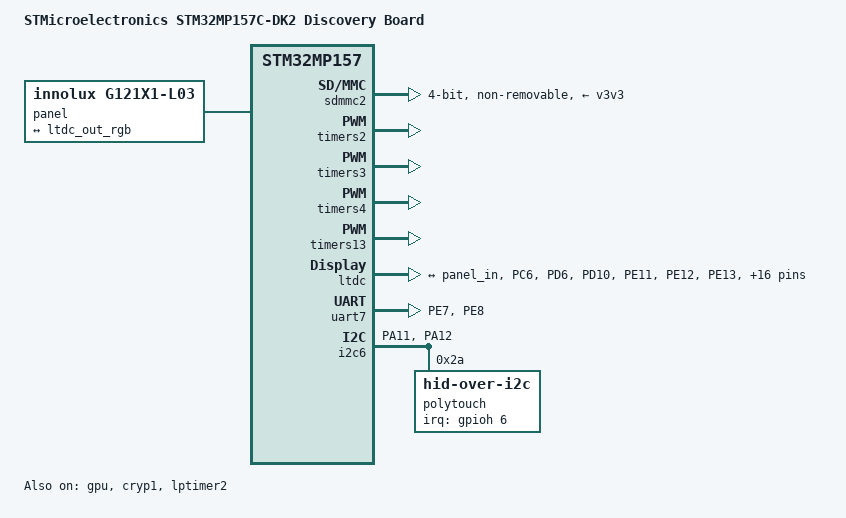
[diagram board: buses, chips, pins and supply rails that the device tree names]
// SPDX-License-Identifier: (GPL-2.0+ OR BSD-3-Clause)
/*
 * Copyright (C) STMicroelectronics 2019 - All Rights Reserved
 * Author: Alexandre Torgue <alexandre.torgue@st.com> for STMicroelectronics.
 */

/dts-v1/;

#include "stm32mp157.dtsi"
#include "stm32mp15xc.dtsi"
#include "stm32mp15-pinctrl-v510.dtsi"
#include "stm32mp15xxac-pinctrl.dtsi"
#include "stm32mp15xx-dkx-v510.dtsi"
#include <dt-bindings/rtc/rtc-stm32.h>

/ {
	model = "STMicroelectronics STM32MP157C-DK2 Discovery Board";
	compatible = "st,stm32mp157c-dk2", "st,stm32mp157";

	aliases {
		serial1 = &uart7;
	};

	chosen {
		stdout-path = "serial0:115200n8";
	};

	panel {
		compatible = "innolux,g121x1-l03", "simple-panel";
		//backlight = <&backlight>;
		port@0 {
			panel_in: endpoint {
				remote-endpoint = <&ltdc_out_rgb>;
			};
		};
	};
};

&pinctrl{

	tim2_pwm_pins_a: tim2_pwm-0 {
		pins {
			pinmux = <STM32_PINMUX('G', 8, AF1)>; /* TIM2_CH1 */
			bias-disable;
			drive-push-pull;
			slew-rate = <0>;
		};
	};

	tim2_pwm_sleep_pins_a: tim2_pwm_sleep-0 {
		pins {
			pinmux = <STM32_PINMUX('G', 8, ANALOG)>; /* TIM2_CH1 */
		};
	};


	tim3_pwm_pins_a: tim3_pwm-0 {
		pins {
			pinmux = <STM32_PINMUX('A', 6, AF2)>; /* TIM3_CH1 */
			bias-disable;
			drive-push-pull;
			slew-rate = <0>;
		};
	};

	tim3_pwm_sleep_pins_a: tim3_pwm_sleep-0 {
		pins {
			pinmux = <STM32_PINMUX('A', 6, ANALOG)>; /* TIM3_CH1 */
		};
	};


	tim4_pwm_pins_a: tim4_pwm-0 {
		pins {
			pinmux = <STM32_PINMUX('B', 8, AF2)>; /* TIM4_CH3 */
			bias-disable;
			drive-push-pull;
			slew-rate = <0>;
		};
	};

	tim4_pwm_sleep_pins_a: tim4_pwm_sleep-0 {
		pins {
			pinmux = <STM32_PINMUX('B', 8, ANALOG)>; /* TIM4_CH3 */
		};
	};


	tim13_pwm_pins_a: tim13_pwm-0 {
		pins {
			pinmux = <STM32_PINMUX('F', 8, AF9)>; /* TIM13_CH1 */
			bias-disable;
			drive-push-pull;
			slew-rate = <0>;
		};
	};

	tim13_pwm_sleep_pins_a: tim13_pwm_sleep-0 {
		pins {
			pinmux = <STM32_PINMUX('F', 8, ANALOG)>; /* TIM13_CH1 */
		};
	};


	lptim2_counter_pins_a: lptim2_counter-0 {
		pins {
			pinmux = <STM32_PINMUX('D', 11, AF3)>, /* LPTIM2_IN2 */
					 <STM32_PINMUX('D', 12, AF3)>; /* LPTIM2_IN1 */
			bias-disable;
		};
	};

	lptim2_counter_sleep_pins_a: lptim2_counter_sleep-0 {
		pins {
			pinmux = <STM32_PINMUX('D', 11, ANALOG)>, /* LPTIM2_IN2 */
					 <STM32_PINMUX('D', 12, ANALOG)>; /* LPTIM2_IN1 */
		};
	};



	ltdc_pins_x: ltdc-0 {
		pins1 {
			pinmux = <STM32_PINMUX('C', 6, AF14)>, /* LTDC_HSYNC */
					 <STM32_PINMUX('D', 6, AF14)>, /* LTDC_B2 */
					 <STM32_PINMUX('D', 10, AF14)>, /* LTDC_B3 */
					 <STM32_PINMUX('E', 11, AF14)>, /* LTDC_G3 */
					 <STM32_PINMUX('E', 12, AF14)>, /* LTDC_B4 */
					 <STM32_PINMUX('E', 13, AF14)>, /* LTDC_DE */
					 <STM32_PINMUX('E', 15, AF14)>, /* LTDC_R7 */
					 <STM32_PINMUX('H', 8, AF14)>, /* LTDC_R2 */
					 <STM32_PINMUX('H', 9, AF14)>, /* LTDC_R3 */
					 <STM32_PINMUX('H', 10, AF14)>, /* LTDC_R4 */
					 <STM32_PINMUX('H', 11, AF14)>, /* LTDC_R5 */
					 <STM32_PINMUX('H', 12, AF14)>, /* LTDC_R6 */
					 <STM32_PINMUX('H', 13, AF14)>, /* LTDC_G2 */
					 <STM32_PINMUX('H', 15, AF14)>, /* LTDC_G4 */
					 <STM32_PINMUX('I', 0, AF14)>, /* LTDC_G5 */
					 <STM32_PINMUX('I', 1, AF14)>, /* LTDC_G6 */
					 <STM32_PINMUX('I', 2, AF14)>, /* LTDC_G7 */
					 <STM32_PINMUX('I', 5, AF14)>, /* LTDC_B5 */
					 <STM32_PINMUX('I', 6, AF14)>, /* LTDC_B6 */
					 <STM32_PINMUX('I', 7, AF14)>, /* LTDC_B7 */
					 <STM32_PINMUX('I', 9, AF14)>; /* LTDC_VSYNC */
			bias-disable;
			drive-push-pull;
			slew-rate = <0>;
		};
		pins2 {
			pinmux = <STM32_PINMUX('E', 14, AF14)>; /* LTDC_CLK */
			bias-disable;
			drive-push-pull;
			slew-rate = <1>;
		};
	};

	ltdc_sleep_pins_x: ltdc_sleep-0 {
		pins {
			pinmux = <STM32_PINMUX('C', 6, ANALOG)>, /* LTDC_HSYNC */
					 <STM32_PINMUX('D', 6, ANALOG)>, /* LTDC_B2 */
					 <STM32_PINMUX('D', 10, ANALOG)>, /* LTDC_B3 */
					 <STM32_PINMUX('E', 11, ANALOG)>, /* LTDC_G3 */
					 <STM32_PINMUX('E', 12, ANALOG)>, /* LTDC_B4 */
					 <STM32_PINMUX('E', 13, ANALOG)>, /* LTDC_DE */
					 <STM32_PINMUX('E', 14, ANALOG)>, /* LTDC_CLK */
					 <STM32_PINMUX('E', 15, ANALOG)>, /* LTDC_R7 */
					 <STM32_PINMUX('H', 8, ANALOG)>, /* LTDC_R2 */
					 <STM32_PINMUX('H', 9, ANALOG)>, /* LTDC_R3 */
					 <STM32_PINMUX('H', 10, ANALOG)>, /* LTDC_R4 */
					 <STM32_PINMUX('H', 11, ANALOG)>, /* LTDC_R5 */
					 <STM32_PINMUX('H', 12, ANALOG)>, /* LTDC_R6 */
					 <STM32_PINMUX('H', 13, ANALOG)>, /* LTDC_G2 */
					 <STM32_PINMUX('H', 15, ANALOG)>, /* LTDC_G4 */
					 <STM32_PINMUX('I', 0, ANALOG)>, /* LTDC_G5 */
					 <STM32_PINMUX('I', 1, ANALOG)>, /* LTDC_G6 */
					 <STM32_PINMUX('I', 2, ANALOG)>, /* LTDC_G7 */
					 <STM32_PINMUX('I', 5, ANALOG)>, /* LTDC_B5 */
					 <STM32_PINMUX('I', 6, ANALOG)>, /* LTDC_B6 */
					 <STM32_PINMUX('I', 7, ANALOG)>, /* LTDC_B7 */
					 <STM32_PINMUX('I', 9, ANALOG)>; /* LTDC_VSYNC */
		};
	};

	uart7_pins_a: uart7-0 {
		pins1 {
			pinmux = <STM32_PINMUX('E', 7, AF7)>; /* UART7_RX */
			bias-disable;
		};
		pins2 {
			pinmux = <STM32_PINMUX('E', 8, AF7)>; /* UART7_TX */
			bias-disable;
			drive-push-pull;
			slew-rate = <0>;
		};
	};

	uart7_sleep_pins_a: uart7_sleep-0 {
		pins {
			pinmux = <STM32_PINMUX('E', 7, ANALOG)>, /* UART7_RX */
					 <STM32_PINMUX('E', 8, ANALOG)>; /* UART7_TX */
		};
	};

	i2c6_pins_a: i2c6-0 {
		pins {
			pinmux = <STM32_PINMUX('A', 11, AF2)>, /* I2C6_SCL */
					 <STM32_PINMUX('A', 12, AF2)>; /* I2C6_SDA */
			bias-disable;
			drive-open-drain;
			slew-rate = <0>;
		};
	};

	i2c6_sleep_pins_a: i2c6_sleep-0 {
		pins {
			pinmux = <STM32_PINMUX('A', 11, ANALOG)>, /* I2C6_SCL */
					 <STM32_PINMUX('A', 12, ANALOG)>; /* I2C6_SDA */
		};
	};

	eegalax_pins_a: eegalax-0 {
		pins {
			pinmux = <STM32_PINMUX('H', 6, GPIO)>;
			bias-disable;
			drive-push-pull;
			slew-rate = <0>;
		};
	};




};

&dsi{
	status = "disabled";
};

&gpu {
	status = "okay";
};


&cryp1 {
	status = "okay";
};


&rtc {
	st,lsco = <RTC_OUT2_RMP>;
	pinctrl-0 = <&rtc_out2_rmp_pins_a>;
	pinctrl-names = "default";
};

&sdmmc2 {
	//arm,primecell-periphid = <0x10153180>;
	pinctrl-names = "default", "opendrain", "sleep";
	pinctrl-0 = <&sdmmc2_b4_pins_a>;
	pinctrl-1 = <&sdmmc2_b4_od_pins_a>;
	pinctrl-2 = <&sdmmc2_b4_sleep_pins_a>;
	non-removable;
	no-sd;
	no-sdio;
	mmc-ddr-3_3v;
	st,neg-edge;
	bus-width = <4>;
	vmmc-supply = <&v3v3>;
	vqmmc-supply = <&v3v3>;
	status = "okay";
};

&timers2{
	status = "okay";

	/* USER CODE BEGIN timers2 */
	/delete-property/dmas;
	/delete-property/dma-names;
	/* USER CODE END timers2 */

	pwm1: pwm{
			pinctrl-names = "default", "sleep";
			pinctrl-0 = <&tim2_pwm_pins_a>;
			pinctrl-1 = <&tim2_pwm_sleep_pins_a>;
			status = "okay";

		/* USER CODE BEGIN timers2_pwm */
		/* USER CODE END timers2_pwm */
	};
};

&timers3{
	status = "okay";

	/* USER CODE BEGIN timers2 */
	/delete-property/dmas;
	/delete-property/dma-names;
	/* USER CODE END timers2 */

	pwm2: pwm{
			pinctrl-names = "default", "sleep";
			pinctrl-0 = <&tim3_pwm_pins_a>;
			pinctrl-1 = <&tim3_pwm_sleep_pins_a>;
			status = "okay";

		/* USER CODE BEGIN timers2_pwm */
		/* USER CODE END timers2_pwm */
	};
};


&timers4{
	status = "okay";

	/* USER CODE BEGIN timers2 */
	/delete-property/dmas;
	/delete-property/dma-names;
	/* USER CODE END timers2 */

	pwm3: pwm{
			pinctrl-names = "default", "sleep";
			pinctrl-0 = <&tim4_pwm_pins_a>;
			pinctrl-1 = <&tim4_pwm_sleep_pins_a>;
			status = "okay";

		/* USER CODE BEGIN timers2_pwm */
		/* USER CODE END timers2_pwm */
	};
};

&timers13{
	status = "okay";

	/* USER CODE BEGIN timers2 */
	/delete-property/dmas;
	/delete-property/dma-names;
	/* USER CODE END timers2 */

	pwm4: pwm{
			pinctrl-names = "default", "sleep";
			pinctrl-0 = <&tim13_pwm_pins_a>;
			pinctrl-1 = <&tim13_pwm_sleep_pins_a>;
			status = "okay";

		/* USER CODE BEGIN timers2_pwm */
		/* USER CODE END timers2_pwm */
	};
};


&lptimer2{
	status = "okay";

	/* USER CODE BEGIN lptimer2 */
	/* USER CODE END lptimer2 */

	counter{
		pinctrl-names = "default", "sleep";
		pinctrl-0 = <&lptim2_counter_pins_a>;
		pinctrl-1 = <&lptim2_counter_sleep_pins_a>;
		status = "okay";

		/* USER CODE BEGIN lptimer2_counter */
		/* USER CODE END lptimer2_counter */
	};
};


&ltdc{
	pinctrl-names = "default", "sleep";
	pinctrl-0 = <&ltdc_pins_x>;
	pinctrl-1 = <&ltdc_sleep_pins_x>;
	status = "okay";

	/* USER CODE BEGIN ltdc */


	port {

		ltdc_out_rgb: endpoint@0 {
			remote-endpoint = <&panel_in>;
		};
	};

	/* USER CODE END ltdc */
};


// UART7 

&uart7 {
	pinctrl-names = "default", "sleep";
	pinctrl-0 = <&uart7_pins_a>;
	pinctrl-1 = <&uart7_sleep_pins_a>;
	status = "okay";
};

// I2C6,SPI5_SCK
&i2c6{
	pinctrl-names = "default", "sleep";
	pinctrl-0 = <&i2c6_pins_a>;
	pinctrl-1 = <&i2c6_sleep_pins_a>;
	status = "okay";

	/* USER CODE BEGIN i2c4 */

	polytouch: eegalax-ts@2a {
		compatible = "hid-over-i2c";
		reg = <0x2a>;
		hid-descr-addr = <0x000f>;
		pinctrl-names = "default";
		pinctrl-0 = <&eegalax_pins_a>;
		interrupt-parent = <&gpioh>;
		interrupts = <6 IRQ_TYPE_LEVEL_LOW>;
		//wakeup-gpios = <&gpiod 15 GPIO_ACTIVE_HIGH>;

		touchscreen-size-x = <1024>;
		touchscreen-size-y = <768>;
		touchscreen-inverted-x;
		touchscreen-inverted-y;
		status="okay";
	};

	/* USER CODE END i2c4 */
};

// ETH

